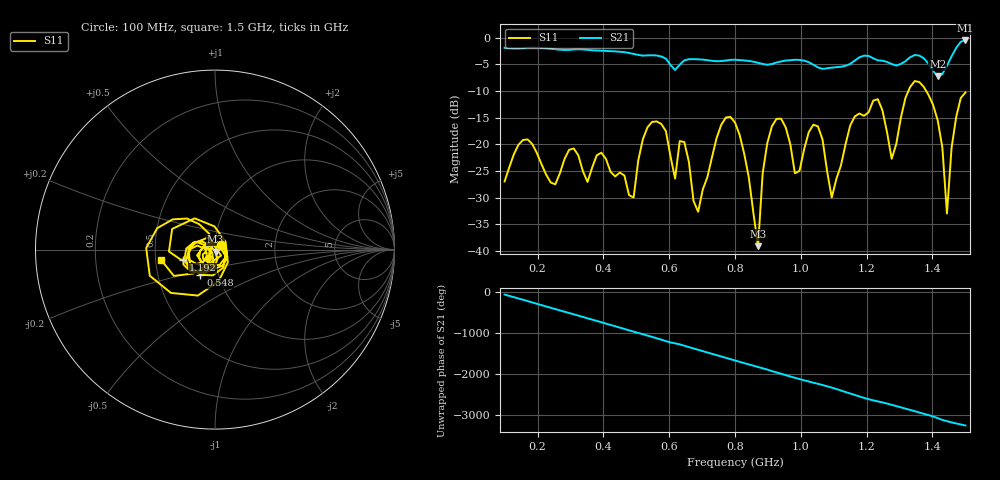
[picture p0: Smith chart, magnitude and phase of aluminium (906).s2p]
! NanoVNA-App
! Date: 2025-09-25 15:02:20
! Start: 100MHz Stop: 1,5GHz Points: 101
! S-Parameter data: F S11 S21 S12 S22
# Hz S RI R 50
!  Frequency  S11_Real  S11_Imag  S21_Real  S21_Imag  S12_Real  S12_Imag  S22_Real  S22_Imag
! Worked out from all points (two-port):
!   101 points, 100 MHz to 1.5 GHz, reference 50 ohm
!   highest |S21| = -0.54 dB at 1.5 GHz (marker M1); lowest = -7.3 dB at 1.416 GHz (marker M2)
!   |S21| within 3 dB of the highest: start of sweep to 575.9 MHz; 1.458 GHz to end of sweep (the widest 2 of 4)
!   lowest |S11| = -39.1 dB at 870 MHz (marker M3), VSWR 1.02, Z = 50.3 - j1.08 ohm
!   |S11| at or under -10 dB: start of sweep to 1.327 GHz; 1.381 GHz to end of sweep
!   S12 and S22 are empty: the file has one direction only
!   S11 on the Smith chart (normalised r, x): 100 MHz: 1.07, +0.06; 548 MHz: 0.82, -0.24; 1.192 GHz: 0.70, -0.08; 1.5 GHz: 0.54, -0.07
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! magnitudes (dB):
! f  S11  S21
! 100 MHz  -27.0  -1.9
! 156 MHz  -19.2  -2.0
! 338 MHz  -25.1  -2.2
! 492 MHz  -30.0  -3.1
! 548 MHz  -15.8  -3.3
! 576 MHz  -16.2  -3.5
! 618 MHz  -26.4  -6.1
! 646 MHz  -19.6  -4.3
! 688 MHz  -32.6  -4.1
! 800 MHz  -15.9  -4.1
! 870 MHz  -39.1  -4.7
! 912 MHz  -16.6  -4.9
! 982 MHz  -25.4  -4.2
! 1.038 GHz  -16.3  -5.1
! 1.094 GHz  -30.0  -5.6
! 1.192 GHz  -14.7  -3.4
! 1.234 GHz  -11.5  -4.3
! 1.276 GHz  -22.7  -5.0
! 1.346 GHz  -8.1  -3.3
! 1.416 GHz  -15.5  -7.3
! 1.444 GHz  -33.0  -5.3
! 1.5 GHz  -10.3  -0.5
